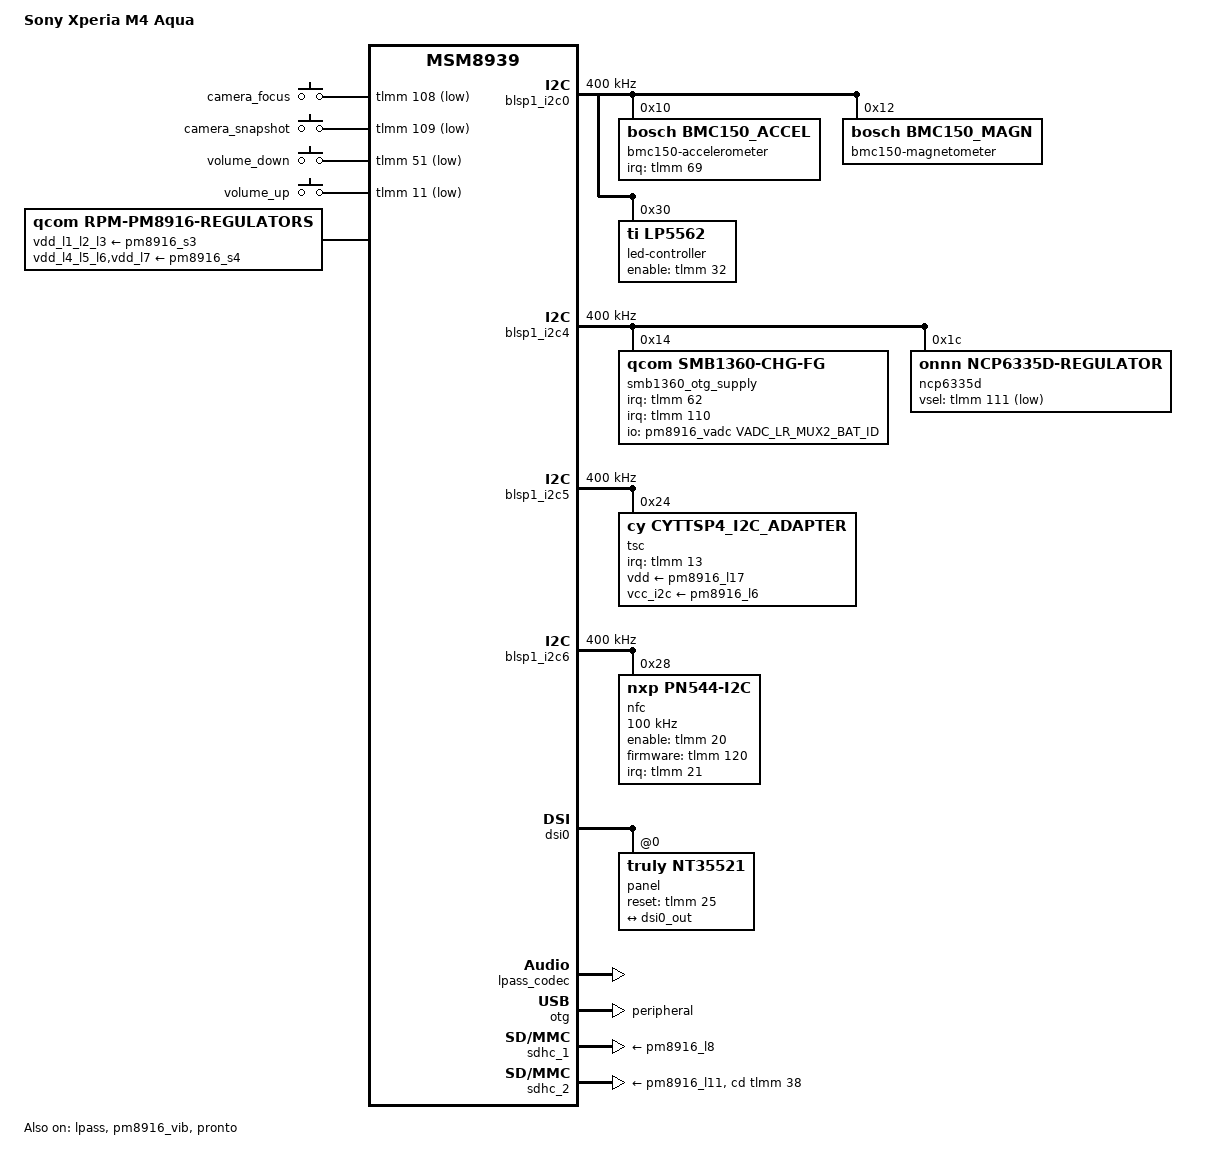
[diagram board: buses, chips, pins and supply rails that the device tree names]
// SPDX-License-Identifier: GPL-2.0
/*
 * Sony Xperia M4 Aqua device tree source
 *
 * Copyright (c) 2020, Pavel Dubrova <pashadubrova@gmail.com>
 */

/dts-v1/;

#include <dt-bindings/gpio/gpio.h>
#include <dt-bindings/leds/common.h>
#include <dt-bindings/sound/apq8016-lpass.h>
#include "msm8939.dtsi"
#include "pm8916.dtsi"

/ {
	model = "Sony Xperia M4 Aqua";
	compatible = "sony,kanuti-tulip", "qcom,msm8939";

	/* Required by bootloader to select correct DTB */
	qcom,msm-id = <239 0>;
	qcom,board-id = <8 0>;

	aliases {
		serial0 = &blsp1_uart2;
	};

	gpio-keys {
		compatible = "gpio-keys";

		pinctrl-names = "default";
		pinctrl-0 = <&gpio_key_default>;

		camera_focus {
			label = "camera_focus";
			gpios = <&tlmm 108 GPIO_ACTIVE_LOW>;
			linux,input-type = <1>;
			linux,code = <KEY_CAMERA_FOCUS>;
			wakeup-source;
			debounce-interval = <100>;
		};

		camera_snapshot {
			label = "camera_snapshot";
			gpios = <&tlmm 109 GPIO_ACTIVE_LOW>;
			linux,input-type = <1>;
			linux,code = <0x2fe>;
			wakeup-source;
			debounce-interval = <100>;
		};

		vol_down {
			label = "volume_down";
			gpios = <&tlmm 51 GPIO_ACTIVE_LOW>;
			linux,input-type = <1>;
			linux,code = <KEY_VOLUMEDOWN>;
			wakeup-source;
			debounce-interval = <100>;
		};

		vol_up {
			label = "volume_up";
			gpios = <&tlmm 11 GPIO_ACTIVE_LOW>;
			linux,input-type = <1>;
			linux,code = <KEY_VOLUMEUP>;
			wakeup-source;
			debounce-interval = <100>;
		};
	};

	reserved-memory {
		ramoops@a0000000 {
			compatible = "ramoops";
			reg = <0x0 0xa0000000 0x0 0x100000>;

			record-size = <0x20000>;
			console-size = <0x40000>;
			ftrace-size = <0x20000>;
			pmsg-size = <0x20000>;
			ecc-size = <16>;
		};
	};
};

&apps_iommu {
	power-domains = <&gcc MDSS_GDSC>;
};

&blsp1_dma {
	status = "okay";
};

&blsp1_i2c0 {
	clock-frequency = <400000>;
	status = "okay";

	bmc150-accelerometer@10 {
		compatible = "bosch,bmc150_accel";
		reg = <0x10>;

		interrupts = <69 IRQ_TYPE_LEVEL_HIGH>;
		interrupt-parent = <&tlmm>;

		pinctrl-names = "default";
		pinctrl-0 = <&bma2x2_default>;

		mount-matrix = "1", "0", "0",
			       "0", "-1", "0",
			       "0", "0", "-1";
	};

	bmc150-magnetometer@12 {
		compatible = "bosch,bmc150_magn";
		reg = <0x12>;
	};

	led-controller@30 {
		compatible = "ti,lp5562";
		reg = <0x30>;
		clock-mode = /bits/ 8 <2>;
		enable-gpio = <&tlmm 32 GPIO_ACTIVE_HIGH>;
		#address-cells = <1>;
		#size-cells = <0>;

		chan@0 {
			reg = <0>;
			chan-name = "red";
			led-cur = /bits/ 8 <0x20>;
			max-cur = /bits/ 8 <0x60>;
			color = <LED_COLOR_ID_RED>;
		};

		chan@1 {
			reg = <1>;
			chan-name = "green";
			led-cur = /bits/ 8 <0x20>;
			max-cur = /bits/ 8 <0x60>;
			color = <LED_COLOR_ID_GREEN>;
		};

		chan@2 {
			reg = <2>;
			chan-name = "blue";
			led-cur = /bits/ 8 <0x20>;
			max-cur = /bits/ 8 <0x60>;
			color = <LED_COLOR_ID_BLUE>;
		};

		chan@3 {
			reg = <3>;
			chan-name = "white";
			led-cur = /bits/ 8 <0x20>;
			max-cur = /bits/ 8 <0x60>;
			color = <LED_COLOR_ID_WHITE>;
		};
	};

	/* TODO: Capella CM36286 on 0x60 */
};

&blsp1_i2c4 {
	clock-frequency = <400000>;
	status = "okay";

	smb1360_otg_supply: smb1360-chg-fg@14 {
		compatible = "qcom,smb1360-chg-fg";
		reg = <0x14>;

		interrupts-extended = <&tlmm 62 IRQ_TYPE_LEVEL_LOW>,
				      <&tlmm 110 IRQ_TYPE_EDGE_BOTH>;
		interrupt-names = "smb1360_stat_irq",
				  "smb1360_usb_id_irq";

		pinctrl-names = "default";
		pinctrl-0 = <&smb_int_default>, <&usb_id_default>;

		qcom,empty-soc-disabled;
		qcom,chg-inhibit-disabled;
		qcom,float-voltage-mv = <4350>;
		qcom,iterm-ma = <100>;
		qcom,recharge-thresh-mv = <200>;
		qcom,fg-auto-recharge-soc = <99>;
		qcom,thermal-mitigation = <1500 700 600 0>;
		/* TODO: Disable OTG for now */
		/* qcom,usb-id-gpio = <&tlmm 110 GPIO_ACTIVE_HIGH>; */

		/* Battery-profile selection properties */
		qcom,batt-profile-select;
		qcom,smb1360-vadc = <&pm8916_vadc>;
		qcom,batt-id-vref-uv = <1800000>;
		qcom,batt-id-rpullup-kohm = <100>;
		qcom,profile-a-rid-kohm = <324>;
		qcom,profile-b-rid-kohm = <181>;
		qcom,shdn-after-pwroff;
		qcom,charging-timeout = <192>;

		io-channels = <&pm8916_vadc VADC_LR_MUX2_BAT_ID>;
		io-channel-names = "batt_id";
	};

	ncp6335d: ncp6335d-regulator@1c {
		compatible = "onnn,ncp6335d-regulator";
		reg = <0x1c>;

		onnn,vsel = <0>;
		onnn,slew-ns = <3333>;
		onnn,step-size = <6250>;
		onnn,min-slew-ns = <416>;
		onnn,max-slew-ns = <3333>;
		regulator-min-microvolt = <1050000>;
		regulator-max-microvolt = <1350000>;
		onnn,min-setpoint = <600000>;

		pintrl-names = "default";
		pinctrl-0 = <&ext_buck_vsel_default>;

		onnn,vsel-gpio = <&tlmm 111 GPIO_ACTIVE_LOW>;
		onnn,discharge-enable;
		onnn,restore-reg;
		onnn,set-en-always;
		onnn,register-corruption-workaround;
		regulator-always-on;
	};
};

&blsp1_i2c5 {
	clock-frequency = <400000>;
	status = "okay";

	tsc@24 {
		compatible = "cy,cyttsp4_i2c_adapter";
		reg = <0x24>;

		/* GPIO 38, high-to-low edge triggered */
		interrupts = <13 0x2008>;
		interrupt-parent = <&tlmm>;
		cy,adapter_id = "cyttsp4_i2c_adapter";

		pinctrl-names = "pmx_ts_active","pmx_ts_suspend";
		pinctrl-0 = <&ts_int_default &ts_reset_default>;
		pinctrl-1 = <&ts_int_sleep &ts_reset_sleep>;

		vdd-supply = <&pm8916_l17>;
		vcc_i2c-supply = <&pm8916_l6>;

		cy,core {
			cy,name = "cyttsp4_core";
			cy,id = "main_ttsp_core";

			gpios = <&tlmm 12 GPIO_ACTIVE_HIGH>, <&tlmm 13 GPIO_ACTIVE_HIGH>;

			cy,irq_gpio = <13>;
			cy,rst_gpio = <12>;

			cy,mt {
				cy,name = "cyttsp4_mt";

				cy,inp_dev_name = "cyttsp4_mt";
				/* CY_MT_FLAG_FLIP | CY_MT_FLAG_INV_X | CY_MT_FLAG_INV_Y */
				cy,flags = <0x8>;
				cy,abs =
					/* ABS_MT_POSITION_X, CY_ABS_MIN_X, CY_ABS_MAX_X, 0, 0 */
					<0x35 0 1080 0 0
					/* ABS_MT_POSITION_Y, CY_ABS_MIN_Y, CY_ABS_MAX_Y, 0, 0 */
					0x36 0 1920 0 0
					/* ABS_MT_PRESSURE, CY_ABS_MIN_P, CY_ABS_MAX_P, 0, 0 */
					0x3a 0 255 0 0
					/* CY_IGNORE_VALUE, CY_ABS_MIN_W, CY_ABS_MAX_W, 0, 0 */
					0xffff 0 255 0 0
					/* ABS_MT_TRACKING_ID, CY_ABS_MIN_T, CY_ABS_MAX_T, 0, 0 */
					0x39 0 15 0 0
					/* ABS_MT_TOUCH_MAJOR, 0, 255, 0, 0 */
					0x30 0 255 0 0
					/* ABS_MT_TOUCH_MINOR, 0, 255, 0, 0 */
					0x31 0 255 0 0
					/* ABS_MT_ORIENTATION, -128, 127, 0, 0 */
					0x34 0xfffffed7 127 0 0>;
			};
		};
	};

	/* TODO: Some devices have CYTTSP5 on 0x34 instead of CYTTSP4 */
};

&blsp1_i2c6 {
	clock-frequency = <400000>;
	status = "okay";

	nfc@28 {
		compatible = "nxp,pn544-i2c";
		reg = <0x28>;
		clock-frequency = <100000>;

		interrupt-parent = <&tlmm>;
		interrupts = <21 IRQ_TYPE_EDGE_FALLING>;

		enable-gpios = <&tlmm 20 GPIO_ACTIVE_HIGH>;
		firmware-gpios = <&tlmm 120 GPIO_ACTIVE_HIGH>;
	};
};

&cpr {
	vdd-apc-supply = <&ncp6335d>;
};

&dsi0 {
	vdda-supply = <&pm8916_l2>;
	vddio-supply = <&pm8916_l6>;

	panel@0 {
		compatible = "truly,nt35521";
		reg = <0>;

		reset-gpios = <&tlmm 25 GPIO_ACTIVE_HIGH>;

		ports {
			#address-cells = <1>;
			#size-cells = <0>;

			port@0 {
				reg = <0>;

				panel_in: endpoint {
					remote-endpoint = <&dsi0_out>;
				};
			};
		};
	};
};

&dsi_phy0 {
	vddio-supply = <&pm8916_l6>;
};

&dsi0_out {
	remote-endpoint = <&panel_in>;
	data-lanes = <0 1 2 3>;
};

&lpass {
	status = "okay";
};

&lpass_codec {
	status = "okay";
};

&otg {
	dr_mode = "peripheral";
	extcon = <&smb1360_otg_supply>, <&smb1360_otg_supply>;

	status = "okay";
};

&pm8916_vadc {
	batt_id {
		reg = <VADC_LR_MUX2_BAT_ID>;
		qcom,ratiometric;
	};
};

&pm8916_vib {
	status = "okay";
};

&pronto {
	status = "okay";

	smd-edge {
		wcnss {
			bt {
				/* Device specific. This is my REAL BT MAC address. */
				local-bd-address = [ 40 40 a7 85 14 63 ];
			};

			wifi {
				/* Device specific. This is my REAL WLAN MAC address. */
				local-mac-address = [ 40 40 a7 5e ac 9e ];
			};
		};
	};
};

&rpm_requests {
	pm8916-regulators {
		compatible = "qcom,rpm-pm8916-regulators";

		vdd_l1_l2_l3-supply = <&pm8916_s3>;
		vdd_l4_l5_l6-supply = <&pm8916_s4>;
		vdd_l7-supply = <&pm8916_s4>;

		pm8916_s1: s1 {
			regulator-min-microvolt = <500000>;
			regulator-max-microvolt = <1300000>;
		};

		pm8916_s3: s3 {
			regulator-min-microvolt = <1200000>;
			regulator-max-microvolt = <1300000>;
		};

		pm8916_s4: s4 {
			regulator-min-microvolt = <1800000>;
			regulator-max-microvolt = <2100000>;
		};

		pm8916_l1: l1 {
			regulator-min-microvolt = <1225000>;
			regulator-max-microvolt = <1300000>;
		};

		pm8916_l2: l2 {
			regulator-min-microvolt = <1200000>;
			regulator-max-microvolt = <1200000>;
		};

		pm8916_l3: l3 {
			regulator-min-microvolt = <500000>;
			regulator-max-microvolt = <1287500>;
		};

		pm8916_l4: l4 {
			regulator-min-microvolt = <2050000>;
			regulator-max-microvolt = <2050000>;
		};

		pm8916_l5: l5 {
			regulator-min-microvolt = <1800000>;
			regulator-max-microvolt = <1800000>;
		};

		pm8916_l6: l6 {
			regulator-min-microvolt = <1800000>;
			regulator-max-microvolt = <1800000>;
		};

		pm8916_l7: l7 {
			regulator-min-microvolt = <1800000>;
			regulator-max-microvolt = <1800000>;
		};

		pm8916_l8: l8 {
			regulator-min-microvolt = <2850000>;
			regulator-max-microvolt = <2900000>;
		};

		pm8916_l9: l9 {
			regulator-min-microvolt = <3300000>;
			regulator-max-microvolt = <3300000>;
		};

		pm8916_l10: l10 {
			regulator-min-microvolt = <2700000>;
			regulator-max-microvolt = <2800000>;
		};

		pm8916_l11: l11 {
			regulator-min-microvolt = <1800000>;
			regulator-max-microvolt = <2950000>;
		};

		pm8916_l12: l12 {
			regulator-min-microvolt = <1800000>;
			regulator-max-microvolt = <2950000>;
		};

		pm8916_l13: l13 {
			regulator-min-microvolt = <3075000>;
			regulator-max-microvolt = <3075000>;
		};

		pm8916_l14: l14 {
			regulator-min-microvolt = <1800000>;
			regulator-max-microvolt = <3300000>;
		};

		pm8916_l15: l15 {
			regulator-min-microvolt = <1800000>;
			regulator-max-microvolt = <3300000>;
		};

		pm8916_l16: l16 {
			regulator-min-microvolt = <1800000>;
			regulator-max-microvolt = <3300000>;
		};

		pm8916_l17: l17 {
			regulator-min-microvolt = <2850000>;
			regulator-max-microvolt = <2850000>;
		};

		pm8916_l18: l18 {
			regulator-min-microvolt = <2700000>;
			regulator-max-microvolt = <2850000>;
		};
	};
};

&sdhc_1 {
	vmmc-supply = <&pm8916_l8>;
	vqmmc-supply = <&pm8916_l5>;

	status = "okay";
};

&sdhc_2 {
	vmmc-supply = <&pm8916_l11>;
	vqmmc-supply = <&pm8916_l12>;

	cd-gpios = <&tlmm 38 GPIO_ACTIVE_HIGH>;

	status = "okay";
};

&soc {
	sound {
		compatible = "qcom,apq8016-sbc-sndcard";
		reg = <0x07702000 0x4>, <0x07702004 0x4>;
		reg-names = "mic-iomux", "spkr-iomux";

		pinctrl-names = "default", "sleep";
		pinctrl-0 = <&cdc_pdm_lines_default>;
		pinctrl-1 = <&cdc_pdm_lines_sleep>;

		qcom,model = "sony-tulip";
		qcom,audio-routing =
			"AMIC1", "MIC BIAS External1",
			"AMIC2", "MIC BIAS Internal2",
			"AMIC3", "MIC BIAS External1";

		internal-codec-playback-dai-link@0 {
			link-name = "WCD";

			cpu {
				sound-dai = <&lpass MI2S_PRIMARY>;
			};

			codec {
				sound-dai = <&lpass_codec 0>, <&wcd_codec 0>;
			};
		};

		internal-codec-capture-dai-link@0 {
			link-name = "WCD-Capture";

			cpu {
				sound-dai = <&lpass MI2S_TERTIARY>;
			};

			codec {
				sound-dai = <&lpass_codec 1>, <&wcd_codec 1>;
			};
		};
	};
};

&tlmm {
	bma2x2_default: bma2x2-default {
		pins = "gpio69";
		function = "gpio";

		drive-strength = <2>;
		bias-disable;
	};

	ext_buck_vsel_default: ext-buck-vsel-default {
		pins = "gpio111";
		function = "gpio";

		drive-strength = <2>;
	};

	gpio_key_default: gpio-key-default {
		pins = "gpio11", "gpio51", "gpio108", "gpio109";
		function = "gpio";

		drive-strength = <2>;
		bias-pull-up;
	};

	mdss_dsi_default: mdss-dsi-default {
		pins = "gpio25", "gpio97", "gpio98";
		function = "gpio";

		drive-strength = <8>;
		bias-disable;
	};

	mdss_dsi_sleep: mdss-dsi-sleep {
		pins = "gpio25", "gpio97", "gpio98";
		function = "gpio";

		drive-strength = <2>;
		bias-pull-down;
	};
};

&usb_hs_phy {
	v1p8-supply = <&pm8916_l7>;
	v3p3-supply = <&pm8916_l13>;

	extcon = <&smb1360_otg_supply>;
};

&wcd_codec {
	qcom,hphl-jack-type-normally-open;
	qcom,vdd-spkr-gpio = <&tlmm 49 GPIO_ACTIVE_HIGH>;

	qcom,mbhc-vthreshold-low = <75 212 525 637 700>;
	qcom,mbhc-vthreshold-high = <62 200 462 625 700>;
};
